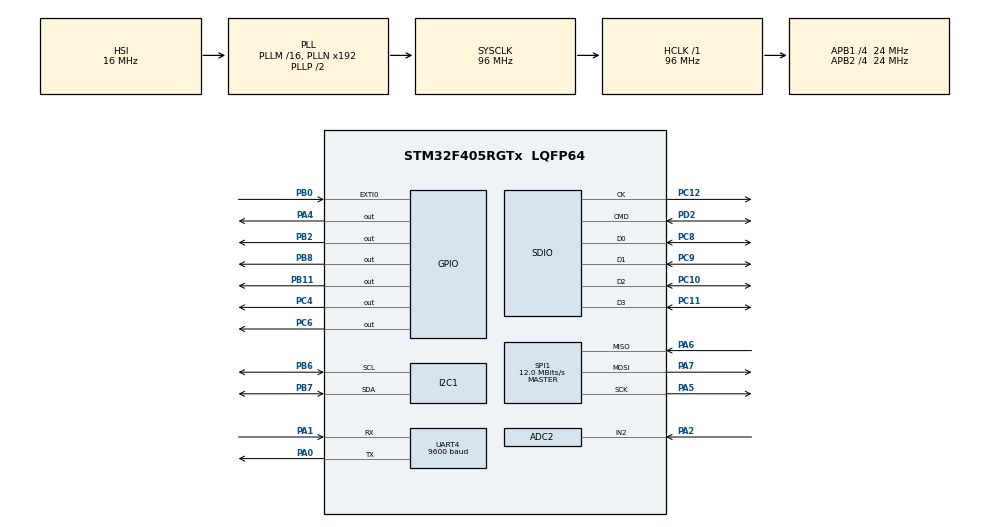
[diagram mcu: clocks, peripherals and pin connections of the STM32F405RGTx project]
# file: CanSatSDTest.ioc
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Mcu.Family=STM32F4
PA6.Mode=Full_Duplex_Master
RCC.CortexFreq_Value=96000000
PC10.GPIO_PuPd=GPIO_PULLUP
FATFS._USE_LFN=1
SPI1.VirtualType=VM_MASTER
ADC2.Channel-0\#ChannelRegularConversion=ADC_CHANNEL_2
VP_FATFS_VS_SDIO.Mode=SDIO
SH.ADCx_IN2.0=ADC2_IN2,IN2
PC10.Signal=SDIO_D2
PC12.Signal=SDIO_CK
PB2.GPIO_Speed=GPIO_SPEED_FREQ_VERY_HIGH
VP_RTC_VS_RTC_Activate.Mode=RTC_Enabled
RTC.WeekDay=RTC_WEEKDAY_THURSDAY
PB11.Signal=GPIO_Output
RCC.SYSCLKSource=RCC_SYSCLKSOURCE_PLLCLK
ProjectManager.StackSize=0x400
PB11.GPIO_Speed=GPIO_SPEED_FREQ_VERY_HIGH
PC11.GPIO_PuPd=GPIO_PULLUP
RTC.SynchPrediv=249
TIM1.Prescaler=47999
SPI1.Direction=SPI_DIRECTION_2LINES
UART4.BaudRate=9600
RCC.HCLKFreq_Value=96000000
RCC.APB2TimFreq_Value=48000000
PB6.Signal=I2C1_SCL
PB6.Mode=I2C
SPI1.CalculateBaudRate=12.0 MBits/s
RCC.AHBFreq_Value=96000000
RCC.HSE_VALUE=25000000
RTC.Minutes=44
PB2.Signal=GPIO_Output
PB3.Mode=JTAG_5_pins
PA15.Mode=JTAG_5_pins
PA4.GPIO_Speed=GPIO_SPEED_FREQ_VERY_HIGH
PB0.GPIO_ModeDefaultEXTI=GPIO_MODE_IT_RISING_FALLING
PC4.GPIO_Speed=GPIO_SPEED_FREQ_VERY_HIGH
RTC.Month=RTC_MONTH_JULY
PB4.Mode=JTAG_5_pins
PA14.Mode=JTAG_5_pins
PC9.Mode=SD_4_bits_Wide_bus
PB8.PinState=GPIO_PIN_SET
PB7.Signal=I2C1_SDA
VP_TIM1_VS_ClockSourceINT.Mode=Internal
Mcu.Package=LQFP64
PA6.Signal=SPI1_MISO
VP_RTC_VS_RTC_Calendar.Mode=RTC_Calendar
PA15.Signal=SYS_JTDI
PB11.PinState=GPIO_PIN_SET
ADC2.SamplingTime-0\#ChannelRegularConversion=ADC_SAMPLETIME_3CYCLES
PC11.Mode=SD_4_bits_Wide_bus
RCC.APB2CLKDivider=RCC_HCLK_DIV4
RCC.APB1TimFreq_Value=48000000
TIM1.Period=249
ADC2.Rank-0\#ChannelRegularConversion=1
SPI1.BaudRatePrescaler=SPI_BAUDRATEPRESCALER_2
PC6.GPIO_Speed=GPIO_SPEED_FREQ_VERY_HIGH
PB4.Signal=SYS_JTRST
NVIC.UART4_IRQn=true\:0\:0\:false\:false\:true\:true\:true
PA5.Mode=Full_Duplex_Master
PA7.Mode=Full_Duplex_Master
PD2.GPIO_PuPd=GPIO_PULLUP
PC11.Signal=SDIO_D3
PC8.Signal=SDIO_D0
PC4.Signal=GPIO_Output
PC6.Signal=GPIO_Output
PC10.Mode=SD_4_bits_Wide_bus
RCC.APB1CLKDivider=RCC_HCLK_DIV4
UART4.VirtualMode=Asynchronous
PA0-WKUP.Signal=UART4_TX
PA0-WKUP.Mode=Asynchronous
PA13.Signal=SYS_JTMS-SWDIO
PA4.PinState=GPIO_PIN_SET
ProjectManager.TargetToolchain=STM32CubeIDE
RTC.Year=21
RTC.Format=RTC_FORMAT_BIN
SDIO.ClockDiv=8
RCC.LSE_VALUE=32768
PA1.Signal=UART4_RX
PD2.Mode=SD_4_bits_Wide_bus
PA5.Signal=SPI1_SCK
PC12.Mode=SD_4_bits_Wide_bus
board=custom
RCC.VCOOutputFreq_Value=192000000
FATFS.USE_DMA_CODE_SD=0
RCC.APB2Freq_Value=24000000
PA1.Mode=Asynchronous
SPI1.Mode=SPI_MODE_MASTER
PC9.GPIO_PuPd=GPIO_PULLUP
PA13.Mode=JTAG_5_pins
Mcu.Name=STM32F405RGTx
PA2.Signal=ADCx_IN2
FATFS._MAX_SS=4096
PC8.Mode=SD_4_bits_Wide_bus
RCC.48MHZClocksFreq_Value=48000000
PC8.GPIO_PuPd=GPIO_PULLUP
PB3.Signal=SYS_JTDO-SWO
NVIC.EXTI0_IRQn=true\:0\:0\:false\:false\:true\:true\:true
PA4.Signal=GPIO_Output
RCC.SYSCLKFreq_VALUE=96000000
RTC.Hours=16
ADC2.NbrOfConversionFlag=1
PB7.Mode=I2C
PA14.Signal=SYS_JTCK-SWCLK
ProjectManager.HeapSize=0x200
NVIC.TIM1_UP_TIM10_IRQn=true\:0\:0\:false\:false\:true\:true\:true
RCC.HSI_VALUE=16000000
NVIC.PriorityGroup=NVIC_PRIORITYGROUP_4
PB8.Signal=GPIO_Output
PC9.Signal=SDIO_D1
PD2.Signal=SDIO_CMD
RCC.APB1Freq_Value=24000000
PB8.GPIO_Speed=GPIO_SPEED_FREQ_VERY_HIGH
PB0.Signal=GPXTI0
PB0.GPIO_PuPd=GPIO_NOPULL
PA7.Signal=SPI1_MOSI

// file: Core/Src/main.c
/* USER CODE BEGIN Header */
/**
  ******************************************************************************
  * @file           : main.c
  * @brief          : Main program body
  ******************************************************************************
  * @attention
  *
  * <h2><center>&copy; Copyright (c) 2021 STMicroelectronics.
  * All rights reserved.</center></h2>
  *
  * This software component is licensed by ST under BSD 3-Clause license,
  * the "License"; You may not use this file except in compliance with the
  * License. You may obtain a copy of the License at:
  *                        opensource.org/licenses/BSD-3-Clause
  *
  ******************************************************************************
  */
/* USER CODE END Header */
#include "main.h"
#include "adc.h"
#include "fatfs.h"
#include "i2c.h"
#include "rtc.h"
#include "sdio.h"
#include "spi.h"
#include "tim.h"
#include "usart.h"
#include "gpio.h"

/* USER CODE BEGIN Includes */
#include "bmp280.h"
#include "bmi160.h"
#include "sx1276.h"
/* USER CODE END Includes */

/* USER CODE BEGIN PTD */
FATFS fatfs;
FIL file;

BMP280_HandleTypedef bmp280;
struct bmi160_dev bmi160;
lora_sx1276 lora;

RTC_TimeTypeDef RTC__Time;
RTC_DateTypeDef RTC__Date;

struct bmi160_sensor_data accel, gyro;

uint16_t crc16(uint8_t* bytes);
/* USER CODE END PTD */

/* USER CODE BEGIN PV */
uint32_t SDmessageBW;
uint8_t SDmessage[256];
uint8_t SDmessageWidth;

uint8_t GPSmessage[128];
uint8_t GPSmessageWidth;

uint8_t LoRaMessage[128];
uint8_t LoRaMessageWidth;

uint8_t gpsRxBuffer[128];
uint8_t gpsRx;
uint8_t gpsRxIndex;
uint16_t validCounter, gnrmcCounter, gnvtgCounter;
char gnrmcString[64] = { '0' };

float pressure, reference_pressure, temperature, humidity;
float ax, ay, az, gx, gy, gz, relativeAltitude, absoluteAltitude;
float pitch, roll, yaw;
uint32_t
	photoResistorValue = 0,
	photoResistorThreshold = 400 // 0 - 4095 range, old val - 450
;

//// ======  Debug Statuses  ====== ////
FRESULT
	mount = FR_DISK_ERR,
	open = FR_DISK_ERR,
	seek = FR_DISK_ERR,
	write = FR_DISK_ERR,
	close = FR_DISK_ERR
;
bool bmp280__init_STATUS;
int8_t bmi160__init_STATUS;
uint8_t lora__init_STATUS;
uint8_t lora__send_STATUS;

//// ======  Util variables  ====== ////
uint32_t startProgramTime;
uint32_t taskCounter;

/* USER CODE END PV */

void SystemClock_Config(void);

/* USER CODE BEGIN 0 */
uint8_t validate(char* nmeastr) {
	char check[3];
	char checkcalcstr[3];
	int i;
	int calculated_check;

	i = 0;
	calculated_check = 0;

	    // check to ensure that the string starts with a $
	if(nmeastr[i] == '$')
	    i++;
	else
	    return 0;

	//No NULL reached, 75 char largest possible NMEA message, no '*' reached
	while(nmeastr[i] != 0 && nmeastr[i] != '*' && i < 75){
	    calculated_check ^= nmeastr[i];// calculate the checksum
	    i++;
	}

	if(i >= 75){
	    return 0;// the string was too long so return an error
	}

	if(nmeastr[i] == '*'){
	    check[0] = nmeastr[i+1];    //put hex chars in check string
	    check[1] = nmeastr[i+2];
	    check[2] = 0;
	} else
	    return 0;// no checksum separator found there for invalid

	sprintf(checkcalcstr,"%02X",calculated_check);
	return (checkcalcstr[0] == check[0] && checkcalcstr[1] == check[1]) ? 1 : 0;
}

void HAL_UART_RxCpltCallback(UART_HandleTypeDef *huart) {
	if(huart == &huart4) {
		// TODO: any task
		if(gpsRxIndex < 128) {
			gpsRxBuffer[gpsRxIndex] = gpsRx;
			gpsRxIndex += 1;

			gpsRx = 0;
			HAL_UART_Receive_IT(&huart4, &gpsRx, 1);
		}
	}
}

uint32_t
	echoRepeaterDelayTime = 0,
	echoRepeaterStartTime = 0
;
bool
	markCountDelayTime = false,
	markProcessDelayTime = false
;

void increaseEchoDelayTime(uint32_t increaseValue) {
	// try to put pc4 anything...
	HAL_GPIO_WritePin(GPIOC, GPIO_PIN_4, GPIO_PIN_SET);
	echoRepeaterDelayTime += increaseValue;

	// log to sd for debug
	memset(SDmessage, 0, SDmessageWidth);
	SDmessageWidth = sprintf(SDmessage, "ECHO increase %d\r\n", echoRepeaterDelayTime);
	writeToSD("Data.txt", SDmessage, SDmessageWidth);
}

void startPreEchoDelayTime() {
	HAL_GPIO_WritePin(GPIOC, GPIO_PIN_4, GPIO_PIN_RESET);
}

void startPostEchoDelayTime() {
	HAL_GPIO_WritePin(GPIOB, GPIO_PIN_11, GPIO_PIN_RESET);
	HAL_GPIO_WritePin(GPIOB, GPIO_PIN_2, GPIO_PIN_SET);

	// log to sd for debug
	memset(SDmessage, 0, SDmessageWidth);
	SDmessageWidth = sprintf(SDmessage, "ECHO started\r\n");
	writeToSD("Data.txt", SDmessage, SDmessageWidth);
}

void endEchoDelayTime() {
	HAL_GPIO_WritePin(GPIOB, GPIO_PIN_2, GPIO_PIN_RESET);
	HAL_GPIO_WritePin(GPIOB, GPIO_PIN_11, GPIO_PIN_SET);

	echoRepeaterDelayTime = 0;

	// log to sd for debug
	memset(SDmessage, 0, SDmessageWidth);
	SDmessageWidth = sprintf(SDmessage, "ECHO complete\r\n");
	writeToSD("Data.txt", SDmessage, SDmessageWidth);
}

void HAL_GPIO_EXTI_Callback(uint16_t GPIO_Pin) {
	if(GPIO_Pin == GPIO_PIN_0) { // if signal in PB0 falling... & echo allowed

		// log to sd for debug
		memset(SDmessage, 0, SDmessageWidth);
		SDmessageWidth = sprintf(SDmessage, "Echo interrupt, pin state: %d\r\n", HAL_GPIO_ReadPin(GPIOB, GPIO_PIN_0));
		writeToSD("Data.txt", SDmessage, SDmessageWidth);

		if(HAL_GPIO_ReadPin(GPIOB, GPIO_PIN_0) == GPIO_PIN_RESET) {
			markCountDelayTime = true;
		} else {
			markProcessDelayTime = true;
			startPreEchoDelayTime();
		}
	}
}

void HAL_TIM_PeriodElapsedCallback(TIM_HandleTypeDef *htim) {
	if(htim->Instance == TIM1) { //check if the interrupt comes from TIM1
		// task every 250 ms
		// if gps packet has been processed - being receive new packet
		if(gpsRxIndex == 0) HAL_UART_Receive_IT(&huart4, &gpsRx, 1);
		taskCounter += 1;
	}
}

//// ------  Util methods  ------ ////
uint8_t bmi160_I2Cwrite(uint8_t addr, uint8_t reg, uint8_t* data, uint16_t len) {
	HAL_StatusTypeDef status = HAL_I2C_Mem_Write(&hi2c1, addr << 1, reg, 1, (uint8_t*)data, len, 1000);
	return status;
}

uint8_t bmi160_I2Cread(uint8_t addr, uint8_t reg, uint8_t* data, uint16_t len) {
	HAL_StatusTypeDef status = HAL_I2C_Mem_Read(&hi2c1, addr << 1, reg, 1, (uint8_t*)data, len, 1000);
	return status;
}

float altitude(float pressure, bool isRelative) {
	float ref = 0.0F;

	if(isRelative == true) {
		ref = reference_pressure;
	} else if(isRelative == false) {
		float startAltitude = 110.0F;
		ref = reference_pressure / powf(1.0F - (startAltitude / 44330.0F), 5.255F); // Sea level pressure in [Pa]
	}

	return 44330.0F * (1.0F - powf(pressure / ref, 1.0F / 5.255F));
}

// ВАЖНО! Запись на SD производится ТОЛЬКО ПР�? ОТКЛЮЧЕННОМ ОТ СЕТ�? �? ОТ STM программаторе
void writeToSD(char* filename, uint8_t* buf, uint8_t width) {
	// возможно из-за этого эхо репитер иногда долго раздупляется
	__disable_irq();
	open = f_open(&file, filename, FA_OPEN_ALWAYS | FA_WRITE);
	seek = f_lseek(&file, f_size(&file));
	write = f_write(&file, buf, width, &SDmessageBW);
	close = f_close(&file);
	__enable_irq();
}

uint16_t crc16(uint8_t* bytes) {
	uint16_t crc = 0;

	for(uint8_t i = 0; i < sizeof(bytes); i++) {
		crc ^= bytes[i];
		for(uint8_t n = 0; n < 8; n++) {
			if(crc & 0x01) {
				crc >>= 1;
				crc ^= 0xA001;
			} else {
				crc >>= 1;
			}
		}
	}
	return crc;
}
//// ------  ------------  ------ ////

//// ======  Barometer  ====== ////
bool bmp280__init() {
	bmp280_init_default_params(&bmp280.params);
	bmp280.addr = BMP280_I2C_ADDRESS_0;
	bmp280.i2c = &hi2c1;
	return bmp280_init(&bmp280, &bmp280.params);
}

//// ======  IMU sensor  ====== ////
int8_t bmi160__init() {
	bmi160.id = BMI160_I2C_ADDR;
	bmi160.interface = BMI160_I2C_INTF;
	bmi160.read = bmi160_I2Cread;
	bmi160.write = bmi160_I2Cwrite;
	bmi160.delay_ms = HAL_Delay;
	int8_t result = BMI160_E_DEV_NOT_FOUND;
	result = bmi160_init(&bmi160);

	bmi160.accel_cfg.odr = BMI160_ACCEL_ODR_1600HZ;
	bmi160.accel_cfg.range = BMI160_ACCEL_RANGE_16G;
	bmi160.accel_cfg.bw = BMI160_ACCEL_BW_NORMAL_AVG4;
	bmi160.accel_cfg.power = BMI160_ACCEL_NORMAL_MODE;
	bmi160.gyro_cfg.odr = BMI160_GYRO_ODR_3200HZ;
	bmi160.gyro_cfg.range = BMI160_GYRO_RANGE_1000_DPS;
	bmi160.gyro_cfg.bw = BMI160_GYRO_BW_NORMAL_MODE;
	bmi160.gyro_cfg.power = BMI160_GYRO_NORMAL_MODE;
	result = bmi160_set_sens_conf(&bmi160);

	return result;
}

//// ======  LoRa radio  ====== ////
uint8_t* lora__init() {
	lora.spi = &hspi1;
	lora.nss_port = GPIOA;
	lora.nss_pin = GPIO_PIN_4;
	lora.frequency = 434000000; // 434 Mhz
	lora.pa_mode = LORA_PA_OUTPUT_PA_BOOST;
	lora.rx_base_addr = LORA_DEFAULT_RX_ADDR;
	lora.tx_base_addr = LORA_DEFAULT_TX_ADDR;
	lora.spi_timeout = LORA_DEFAULT_SPI_TIMEOUT;

	// hardware reset
	HAL_GPIO_WritePin(GPIOB, GPIO_PIN_8, GPIO_PIN_RESET);
	HAL_Delay(1);
	HAL_GPIO_WritePin(GPIOB, GPIO_PIN_8, GPIO_PIN_SET);
	HAL_Delay(250);
	//

	return lora_init(&lora, &hspi1, GPIOA, GPIO_PIN_4, 434000000);
}
/* USER CODE END 0 */

int main(void)
{

  /* MCU Configuration--------------------------------------------------------*/

  /* Reset of all peripherals, Initializes the Flash interface and the Systick. */
  HAL_Init();

  /* Configure the system clock */
  SystemClock_Config();

  /* Initialize all configured peripherals */
  MX_GPIO_Init();
  MX_SDIO_SD_Init();
  MX_FATFS_Init();
  MX_UART4_Init();
  MX_RTC_Init();
  MX_TIM1_Init();
  MX_I2C1_Init();
  MX_SPI1_Init();
  MX_ADC2_Init();
  /* USER CODE BEGIN 2 */

  bmp280__init_STATUS = bmp280__init();
  bmi160__init_STATUS = bmi160__init();
  lora__init_STATUS = lora__init();

  // mount sd card
  mount = f_mount(&fatfs, "", 1);

  // read reference pressure
  bmp280_read_float(&bmp280, NULL, &reference_pressure, NULL);
  //

  // write header to SD card
  // Data header
  memset(SDmessage, 0, SDmessageWidth);
  SDmessageWidth = sprintf(SDmessage, "T+,Ax,y,z,Gx,y,z,Pres,Humi,Temp,AltiAbs,AltiRel,P,R,Y,Light|CRC\r\n");
  writeToSD("Data.txt", SDmessage, SDmessageWidth);
  // Gps header
  memset(GPSmessage, 0, GPSmessageWidth);
  GPSmessageWidth = sprintf(GPSmessage, "T+,GNRMC|CRC\r\n");
  writeToSD("Gps.txt", GPSmessage, GPSmessageWidth);
  //

  // start timer 1
  HAL_TIM_Base_Start_IT(&htim1);
  /* USER CODE END 2 */

  /* Infinite loop */
  while (1)
  {

    /* USER CODE BEGIN 3 */
	  startProgramTime = HAL_GetTick();
	  //// ==== ////

	  if(gpsRxIndex > 0) {
		  char* nmea = (char*)gpsRxBuffer;

		  // GNRMC - GNVTG
		  // GNGGA - GNGSA
		  if(validate(nmea)) {
			  for(uint8_t i = 0; i < strlen(nmea) - 5; i++) {
				  if(nmea[i] == '$'
				  && nmea[i+1] == 'G'
			      && nmea[i+2] == 'N'
			      && nmea[i+3] == 'G'
			      && nmea[i+4] == 'G'
		          && nmea[i+5] == 'A') gnrmcCounter = i;

				  if(nmea[i] == '$'
			      && nmea[i+1] == 'G'
			      && nmea[i+2] == 'N'
			      && nmea[i+3] == 'G'
			      && nmea[i+4] == 'S'
			      && nmea[i+5] == 'A') gnvtgCounter = i;
			  }
		  }

		  if(gnvtgCounter - gnrmcCounter > 12) {
			  for(uint8_t i = gnrmcCounter; i < gnvtgCounter; i++) {
			  	  gnrmcString[i - gnrmcCounter] = nmea[i];
		  	  }
		  }

		  // remove \r\n in gnrmcString
		  for(uint8_t i = 0; i < strlen(gnrmcString); i++) {
			  if(gnrmcString[i] == '\r' || gnrmcString[i] == '\n') gnrmcString[i] = '\0';
		  }
		  //

	  	  memset(GPSmessage, 0, GPSmessageWidth);
	  	  sprintf(GPSmessage, "%d,%s", startProgramTime, (char*)gnrmcString);
	  	  // calculate gps crc16
	  	  uint16_t crc = crc16(GPSmessage);
	  	  //
	  	  GPSmessageWidth = sprintf(GPSmessage, "%s|%04X\r\n", (char*)GPSmessage, crc);
	  	  writeToSD("Gps.txt", GPSmessage, GPSmessageWidth);

	      validCounter += 1;

	      memset(gpsRxBuffer, 0, 128);
	      gpsRxIndex = 0;
	      gpsRx = 0;
	      // ** LoRa Radio send gps string => comment this **
	      //memset(gnrmcString, 0, 64);
	  }

	  ////HAL_RTC_GetTime(&hrtc, &RTC__Time, RTC_FORMAT_BIN);
	  ////HAL_RTC_GetDate(&hrtc, &RTC__Date, RTC_FORMAT_BIN);

	  bmp280_read_float(&bmp280, &temperature, &pressure, &humidity);
	  relativeAltitude = altitude(pressure, true);
	  absoluteAltitude = altitude(pressure, false);

	  bmi160_get_sensor_data(BMI160_BOTH_ACCEL_AND_GYRO, &accel, &gyro, &bmi160);
	  ax = accel.x / 32768.0F * 16.0F * 9.81F;
	  ay = accel.y / 32768.0F * 16.0F * 9.81F;
	  az = accel.z / 32768.0F * 16.0F * 9.81F;
	  gx = gyro.x / 32768.0F * 1000.0F;
	  gy = gyro.y / 32768.0F * 1000.0F;
	  gz = gyro.z / 32768.0F * 1000.0F;

	  // invert axis
	  ay = -ay;
	  gy = -gy;
	  //

	  pitch = atan2(ay, sqrt(ax*ax + az*az)) * (180.0F / 3.14F);
	  roll = atan2(-ax, sqrt(ay*ay + az*az)) * (180.0F / 3.14F);
	  yaw = gz;

	  // gyroscope: negative if rotation clockwise
	  // pitch/roll positive if your rotate up, right (view from top of plate)
	  // угловая скорость: отрицательна при повороте по часовой стрелке
	  // тангаж/крен положителен при наклонении вперед и направо (смотря от верха платы)
	  pitch = pitch - 90.0F;

	  HAL_ADC_Start(&hadc2);
	  HAL_ADC_PollForConversion(&hadc2, 500);
	  photoResistorValue = HAL_ADC_GetValue(&hadc2);
	  HAL_ADC_Stop(&hadc2);
	  if(startProgramTime >= 5000 && photoResistorValue >= photoResistorThreshold) {
		  HAL_GPIO_WritePin(GPIOC, GPIO_PIN_6, GPIO_PIN_SET);
	  }

	  // sd
	  memset(SDmessage, 0, SDmessageWidth);
	  sprintf(SDmessage,
	      "%d|%.2f|%.2f|%.2f|%.2f|%.2f|%.2f|%.1f|%.1f|%.2f|%.2f|%.2f|%.2f|%.2f|%.2f|%d",
		  startProgramTime, ax, ay, az, gx, gy, gz, pressure, humidity, temperature, absoluteAltitude, relativeAltitude, pitch, roll, yaw, photoResistorValue
	  );
	  // calculate crc16
	  uint16_t crc = crc16(SDmessage);
	  //
	  SDmessageWidth = sprintf(SDmessage, "%s|%04X\r\n", (char*)SDmessage, crc);
	  writeToSD("Data.txt", SDmessage, SDmessageWidth);

	  /*** ** LoRa ** ***/
	  memset(LoRaMessage, 0, LoRaMessageWidth);
	  // T+,Ax,y,z,Gx,y,z,Pres,Temp,AltiRel,Light,**GPS_STRING**
	  sprintf(LoRaMessage, "%d|%.2f|%.2f|%.2f|%.2f|%.2f|%.2f|%.1f|%.2f|%.2f|%.2f|%d",
	      startProgramTime, ax, ay, az, gx, gy, gz, pressure, temperature, relativeAltitude, absoluteAltitude, photoResistorValue
	  );
	  // calculate crc16
	  uint16_t crcLoRa = crc16(LoRaMessage);
	  //

	  LoRaMessageWidth = sprintf(LoRaMessage, "%s|%04X|%s\r\n", (char*)LoRaMessage, crcLoRa, (char*)gnrmcString);
	  //lora__send_STATUS = lora_send_packet_blocking(&lora, LoRaMessage, LoRaMessageWidth, 250);
	  memset(gnrmcString, 0, 64);
	  /*** ** ==== ** ***/

	  // start Echo repeater
	  if(markCountDelayTime == true && markProcessDelayTime == true) {
		  if(echoRepeaterStartTime == 0) {
			  startPostEchoDelayTime();

			  echoRepeaterStartTime = HAL_GetTick();

			  markCountDelayTime = false;
		  }
	  }
	  if(markProcessDelayTime == true) {
		  if(HAL_GetTick() - echoRepeaterStartTime >= echoRepeaterDelayTime * 66/*2*/) {
			  endEchoDelayTime();

			  echoRepeaterStartTime = 0;

			  markProcessDelayTime = false;
		  }
	  }
	  if(markCountDelayTime == true) {
		  increaseEchoDelayTime( HAL_GetTick() - startProgramTime );
		  // repeatable event while mark is true
	  }
	  // end Echo repeater

	  //// ==== ////
	  uint32_t loopTime = HAL_GetTick() - startProgramTime;
	  if(loopTime < 250) HAL_Delay(250 - 1 - loopTime);
  }
  /* USER CODE END 3 */
}

void SystemClock_Config(void)
{
  RCC_OscInitTypeDef RCC_OscInitStruct = {0};
  RCC_ClkInitTypeDef RCC_ClkInitStruct = {0};
  RCC_PeriphCLKInitTypeDef PeriphClkInitStruct = {0};

  /** Configure the main internal regulator output voltage
  */
  __HAL_RCC_PWR_CLK_ENABLE();
  __HAL_PWR_VOLTAGESCALING_CONFIG(PWR_REGULATOR_VOLTAGE_SCALE1);
  /** Initializes the RCC Oscillators according to the specified parameters
  * in the RCC_OscInitTypeDef structure.
  */
  RCC_OscInitStruct.OscillatorType = RCC_OSCILLATORTYPE_HSI|RCC_OSCILLATORTYPE_LSI;
  RCC_OscInitStruct.HSIState = RCC_HSI_ON;
  RCC_OscInitStruct.HSICalibrationValue = RCC_HSICALIBRATION_DEFAULT;
  RCC_OscInitStruct.LSIState = RCC_LSI_ON;
  RCC_OscInitStruct.PLL.PLLState = RCC_PLL_ON;
  RCC_OscInitStruct.PLL.PLLSource = RCC_PLLSOURCE_HSI;
  RCC_OscInitStruct.PLL.PLLM = 16;
  RCC_OscInitStruct.PLL.PLLN = 192;
  RCC_OscInitStruct.PLL.PLLP = RCC_PLLP_DIV2;
  RCC_OscInitStruct.PLL.PLLQ = 4;
  if (HAL_RCC_OscConfig(&RCC_OscInitStruct) != HAL_OK)
  {
    Error_Handler();
  }
  /** Initializes the CPU, AHB and APB buses clocks
  */
  RCC_ClkInitStruct.ClockType = RCC_CLOCKTYPE_HCLK|RCC_CLOCKTYPE_SYSCLK
                              |RCC_CLOCKTYPE_PCLK1|RCC_CLOCKTYPE_PCLK2;
  RCC_ClkInitStruct.SYSCLKSource = RCC_SYSCLKSOURCE_PLLCLK;
  RCC_ClkInitStruct.AHBCLKDivider = RCC_SYSCLK_DIV1;
  RCC_ClkInitStruct.APB1CLKDivider = RCC_HCLK_DIV4;
  RCC_ClkInitStruct.APB2CLKDivider = RCC_HCLK_DIV4;

  if (HAL_RCC_ClockConfig(&RCC_ClkInitStruct, FLASH_LATENCY_3) != HAL_OK)
  {
    Error_Handler();
  }
  PeriphClkInitStruct.PeriphClockSelection = RCC_PERIPHCLK_RTC;
  PeriphClkInitStruct.RTCClockSelection = RCC_RTCCLKSOURCE_LSI;
  if (HAL_RCCEx_PeriphCLKConfig(&PeriphClkInitStruct) != HAL_OK)
  {
    Error_Handler();
  }
}

void Error_Handler(void)
{
  __disable_irq();
  while (1)
  {
  }
}

/************************ (C) COPYRIGHT STMicroelectronics *****END OF FILE****/
